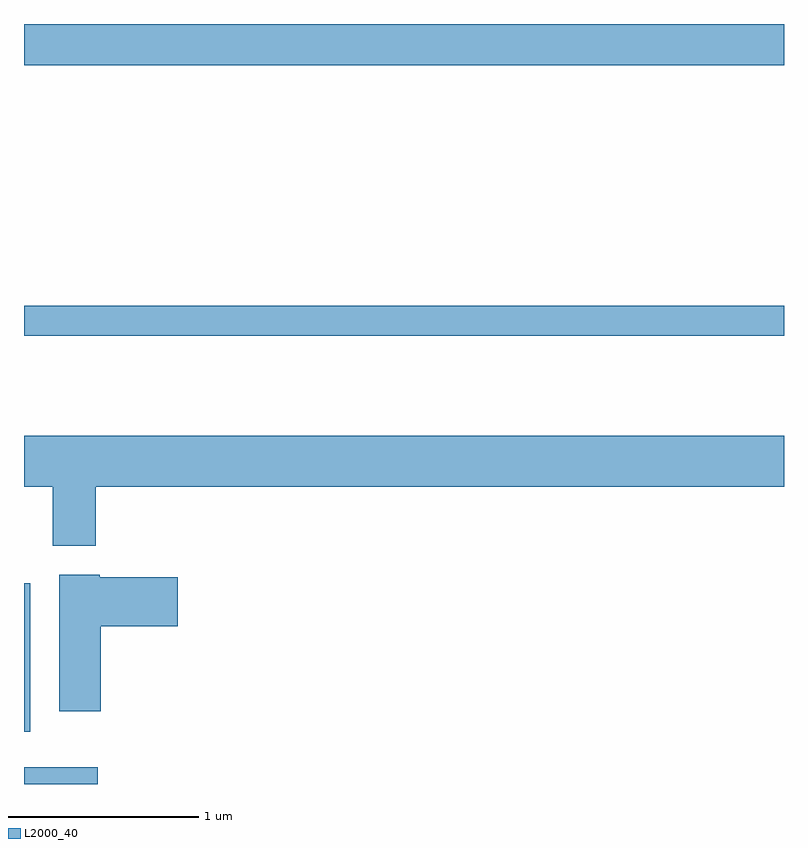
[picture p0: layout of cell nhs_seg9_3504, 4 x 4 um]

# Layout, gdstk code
import gdstk
lib = gdstk.Library(unit=1e-6, precision=1e-09)
def R(c, l, rs):  # rectangles x0, y0, x1, y1
    for r in rs: c.add(gdstk.rectangle(r[:2], r[2:], *l))
def P(c, l, *ps):  # polygons
    for p in ps: c.add(gdstk.Polygon(p, *l))
L2000_40 = (2000, 40)

nhs_seg9_3504 = lib.new_cell('nhs_seg9_3504')
R(nhs_seg9_3504, L2000_40, [(287.611,2032.432,287.998,2032.519), (287.611,2032.706,287.644,2033.489), (287.611,2034.791,291.611,2034.949), (287.611,2036.216,291.611,2036.432)])
P(nhs_seg9_3504, L2000_40, [(287.989,2033.996),(291.611,2033.996),(291.611,2034.264),(287.611,2034.264),(287.611,2033.996),(287.761,2033.996),(287.761,2033.686),(287.989,2033.686)],
  [(288.014,2033.261),(288.419,2033.261),(288.419,2033.519),(288.01,2033.519),(288.01,2033.534),(287.796,2033.534),(287.796,2032.816),(288.014,2032.816)])

lib.write_gds('nhs_seg9_3504.gds')
